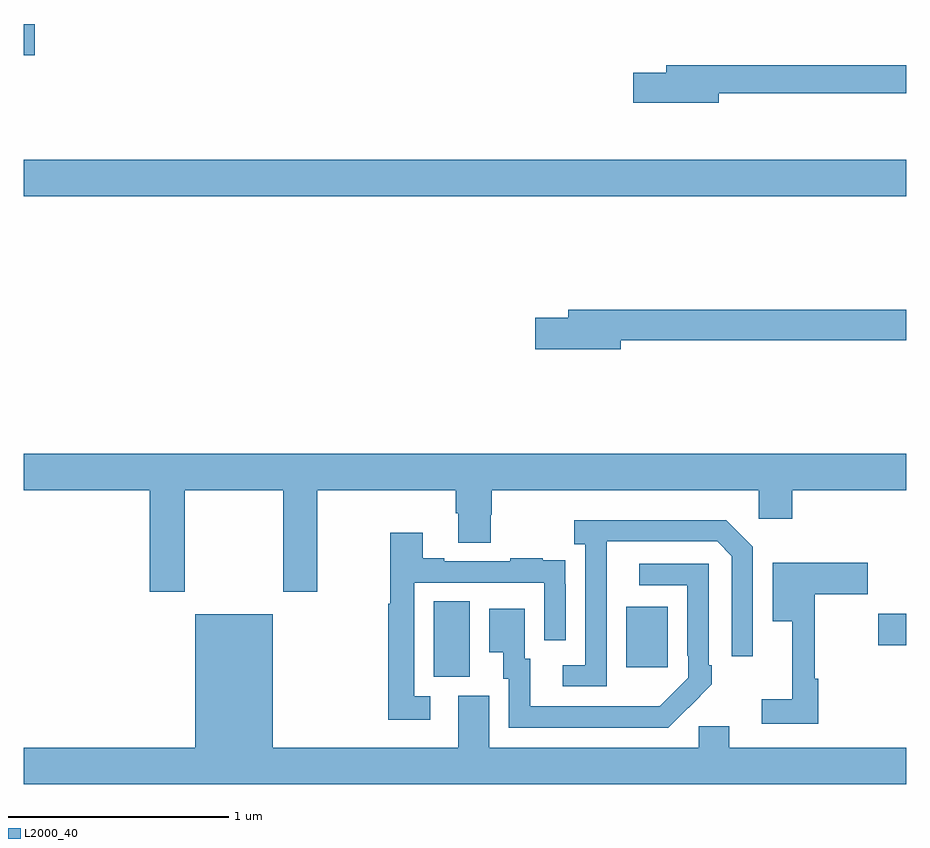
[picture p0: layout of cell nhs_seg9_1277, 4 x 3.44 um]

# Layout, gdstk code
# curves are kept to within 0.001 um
import gdstk
lib = gdstk.Library(unit=1e-6, precision=1e-09)
def R(c, l, rs):  # rectangles x0, y0, x1, y1
    for r in rs: c.add(gdstk.rectangle(r[:2], r[2:], *l))
def P(c, l, *ps):  # polygons
    for p in ps: c.add(gdstk.Polygon(p, *l))
L2000_40 = (2000, 40)

nhs_seg9_1277 = lib.new_cell('nhs_seg9_1277')
R(nhs_seg9_1277, L2000_40, [(182.858,1235.533,183.022,1235.876), (183.731,1235.577,183.919,1235.851), (184.872,1235.677,185,1235.819), (181,1237.712,185,1237.876), (181,1238.35,181.051,1238.492)])
P(nhs_seg9_1277, L2000_40, [(184.15,1238.178),(185,1238.178),(185,1238.306),(183.911,1238.306),(183.911,1238.27),(183.762,1238.27),(183.762,1238.135),(184.15,1238.135)],
  [(183.706,1237.06),(185,1237.06),(185,1237.196),(183.467,1237.196),(183.467,1237.16),(183.318,1237.16),(183.318,1237.018),(183.706,1237.018)],
  [(181,1236.38),(181.571,1236.38),(181.571,1235.919),(181.731,1235.919),(181.731,1236.38),(182.176,1236.38),(182.176,1235.919),(182.331,1235.919),(182.331,1236.38),(182.957,1236.38),(182.957,1236.274),(182.969,1236.274),(182.969,1236.142),(183.117,1236.142),(183.117,1236.267),(183.122,1236.267),(183.122,1236.38),(184.332,1236.38),(184.332,1236.249),(184.484,1236.249),(184.484,1236.38),(185,1236.38),(185,1236.544),(181,1236.544)],
  [(183.642,1235.947),(183.643,1236.147),(184.143,1236.147),(184.209,1236.081),(184.209,1235.628),(184.305,1235.628),(184.305,1236.123),(184.184,1236.244),(183.495,1236.244),(183.495,1236.134),(183.546,1236.134),(183.546,1235.586),(183.444,1235.586),(183.444,1235.49),(183.642,1235.49)],
  [(182.842,1235.445),(182.769,1235.445),(182.769,1235.961),(183.36,1235.961),(183.36,1235.7),(183.456,1235.7),(183.456,1235.954),(183.455,1235.954),(183.455,1236.063),(183.353,1236.063),(183.353,1236.07),(183.205,1236.07),(183.205,1236.057),(182.905,1236.057),(182.905,1236.07),(182.809,1236.07),(182.809,1236.187),(182.661,1236.187),(182.661,1235.864),(182.653,1235.864),(182.653,1235.34),(182.842,1235.34)],
  [(184.601,1235.525),(184.586,1235.525),(184.586,1235.909),(184.825,1235.909),(184.825,1236.051),(184.394,1236.051),(184.394,1235.786),(184.484,1235.786),(184.484,1235.431),(184.344,1235.431),(184.344,1235.322),(184.601,1235.322)],
  [(184.013,1235.395),(184.014,1235.394),(184.119,1235.499),(184.119,1235.587),(184.104,1235.587),(184.104,1236.045),(183.789,1236.045),(183.789,1235.949),(184.008,1235.949),(184.008,1235.629),(184.011,1235.629),(184.011,1235.529),(183.883,1235.401),(183.295,1235.4),(183.295,1235.616),(183.271,1235.616),(183.271,1235.842),(183.11,1235.842),(183.11,1235.645),(183.173,1235.645),(183.173,1235.526),(183.198,1235.526),(183.198,1235.304),(183.922,1235.304)],
  [(185,1235.212),(184.198,1235.212),(184.198,1235.31),(184.059,1235.31),(184.059,1235.212),(183.109,1235.212),(183.109,1235.448),(182.969,1235.448),(182.969,1235.212),(182.128,1235.212),(182.128,1235.818),(181.778,1235.818),(181.778,1235.212),(181,1235.212),(181,1235.048),(185,1235.048)])

lib.write_gds('nhs_seg9_1277.gds')
